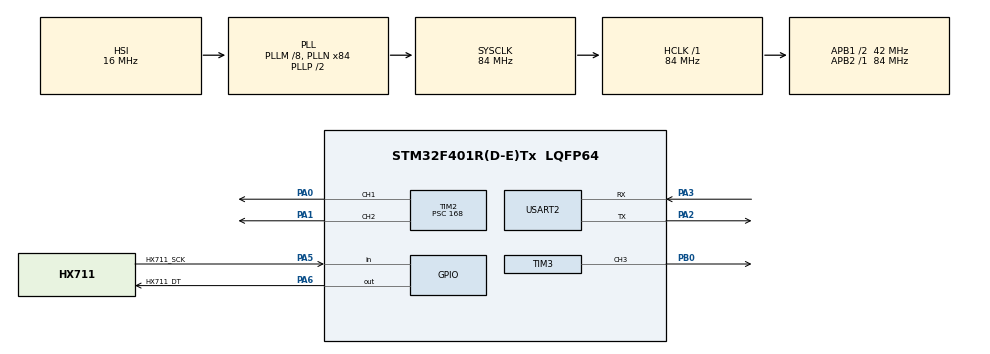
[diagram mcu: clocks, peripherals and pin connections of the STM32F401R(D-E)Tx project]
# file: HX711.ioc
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Dma.Request0=TIM3_CH3
Dma.TIM3_CH3.0.Direction=DMA_PERIPH_TO_MEMORY
Dma.TIM3_CH3.0.FIFOMode=DMA_FIFOMODE_DISABLE
Dma.TIM3_CH3.0.Instance=DMA1_Stream7
Dma.TIM3_CH3.0.MemDataAlignment=DMA_MDATAALIGN_HALFWORD
Dma.TIM3_CH3.0.MemInc=DMA_MINC_ENABLE
Dma.TIM3_CH3.0.Mode=DMA_NORMAL
Dma.TIM3_CH3.0.PeriphDataAlignment=DMA_PDATAALIGN_HALFWORD
Dma.TIM3_CH3.0.PeriphInc=DMA_PINC_DISABLE
Dma.TIM3_CH3.0.Priority=DMA_PRIORITY_LOW
Mcu.Family=STM32F4
Mcu.Name=STM32F401R(D-E)Tx
Mcu.Package=LQFP64
NVIC.DMA1_Stream7_IRQn=true\:0\:0\:false\:false\:true\:false\:true
NVIC.PriorityGroup=NVIC_PRIORITYGROUP_4
NVIC.TIM2_IRQn=true\:0\:0\:false\:false\:true\:true\:true
NVIC.TIM3_IRQn=true\:0\:0\:false\:false\:true\:true\:true
PA0-WKUP.Signal=S_TIM2_CH1_ETR
PA1.Signal=S_TIM2_CH2
PA13.Mode=Serial_Wire
PA13.Signal=SYS_JTMS-SWDIO
PA14.Mode=Serial_Wire
PA14.Signal=SYS_JTCK-SWCLK
PA2.Mode=Asynchronous
PA2.Signal=USART2_TX
PA3.Mode=Asynchronous
PA3.Signal=USART2_RX
PA5.GPIO_Label=HX711_SCK
PA5.Signal=GPIO_Input
PA6.GPIO_Label=HX711_DT
PA6.GPIO_Speed=GPIO_SPEED_FREQ_VERY_HIGH
PA6.Signal=GPIO_Output
PB0.Signal=S_TIM3_CH3
ProjectManager.HeapSize=0x200
ProjectManager.StackSize=0x400
ProjectManager.TargetToolchain=STM32CubeIDE
RCC.48MHZClocksFreq_Value=42000000
RCC.AHBFreq_Value=84000000
RCC.APB1CLKDivider=RCC_HCLK_DIV2
RCC.APB1Freq_Value=42000000
RCC.APB1TimFreq_Value=84000000
RCC.APB2Freq_Value=84000000
RCC.APB2TimFreq_Value=84000000
RCC.CortexFreq_Value=84000000
RCC.HCLKFreq_Value=84000000
RCC.HSE_VALUE=25000000
RCC.HSI_VALUE=16000000
RCC.LSE_VALUE=32768
RCC.PLLM=8
RCC.PLLN=84
RCC.SYSCLKFreq_VALUE=84000000
RCC.SYSCLKSource=RCC_SYSCLKSOURCE_PLLCLK
RCC.VCOOutputFreq_Value=168000000
SH.S_TIM2_CH1_ETR.0=TIM2_CH1,PWM Generation1 CH1
SH.S_TIM2_CH2.0=TIM2_CH2,PWM Generation2 CH2
SH.S_TIM3_CH3.0=TIM3_CH3,PWM Generation3 CH3
TIM2.Channel-PWM\ Generation1\ CH1=TIM_CHANNEL_1
TIM2.Channel-PWM\ Generation2\ CH2=TIM_CHANNEL_2
TIM2.Period=9999
TIM2.Prescaler=168
TIM2.Pulse-PWM\ Generation1\ CH1=750
TIM2.Pulse-PWM\ Generation2\ CH2=750
TIM3.Channel-PWM\ Generation3\ CH3=TIM_CHANNEL_3
TIM3.Period=1000
TIM3.Prescaler=19
TIM3.Pulse-PWM\ Generation3\ CH3=500
USART2.VirtualMode=VM_ASYNC
VP_TIM2_VS_ClockSourceINT.Mode=Internal
VP_TIM3_VS_ClockSourceINT.Mode=Internal
board=custom

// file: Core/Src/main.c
/* USER CODE BEGIN Header */
/**
 ******************************************************************************
 * @file           : main.c
 * @brief          : Main program body
 ******************************************************************************
 * @attention
 *
 * <h2><center>&copy; Copyright (c) 2021 STMicroelectronics.
 * All rights reserved.</center></h2>
 *
 * This software component is licensed by ST under BSD 3-Clause license,
 * the "License"; You may not use this file except in compliance with the
 * License. You may obtain a copy of the License at:
 *                        opensource.org/licenses/BSD-3-Clause
 *
 ******************************************************************************
 */
/* USER CODE END Header */
#include "main.h"
#include "dma.h"
#include "tim.h"
#include "usart.h"
#include "gpio.h"

/* USER CODE BEGIN Includes */
#include <stdio.h>
/* USER CODE END Includes */

/* USER CODE BEGIN PV */
volatile int wartosc = 0;

/* USER CODE END PV */

void SystemClock_Config(void);
/* USER CODE BEGIN PFP */
uint32_t HX711_valueAve(uint16_t sample);
uint32_t HX711_value();

/* USER CODE END PFP */

int main(void)
{

  /* MCU Configuration--------------------------------------------------------*/

  /* Reset of all peripherals, Initializes the Flash interface and the Systick. */
  HAL_Init();

  /* Configure the system clock */
  SystemClock_Config();

  /* Initialize all configured peripherals */
  MX_GPIO_Init();
  MX_DMA_Init();
  MX_TIM2_Init();
  MX_TIM3_Init();
  MX_USART2_UART_Init();
  /* USER CODE BEGIN 2 */
	//HX711_Init(hx11);

//  HAL_TIM_PWM_Start(&htim2, TIM_CHANNEL_2); //uruchomienie sygnału pwm na kanale 1
//    HAL_Delay(1000);
//    __HAL_TIM_SET_COMPARE(&htim2, TIM_CHANNEL_2, 50/*tu wstawiamy nową wartość pulsu*/); // 90 stopni
//    HAL_Delay(1000);
//    __HAL_TIM_SET_COMPARE(&htim2, TIM_CHANNEL_2, 1000/*tu wstawiamy nową wartość pulsu*/); // -90 stopni
//    HAL_Delay(1000);
//    __HAL_TIM_SET_COMPARE(&htim2, TIM_CHANNEL_2, 750/*tu wstawiamy nową wartość pulsu*/); // 0 stopni
//    HAL_Delay(1000);
//    HAL_TIM_PWM_Stop(&htim2, TIM_CHANNEL_2); //zatrzymanie sygnału pwm na kanale 1
//
//    HAL_TIM_Base_Start (& htim3);
//    HAL_TIM_PWM_Start (&htim3, TIM_CHANNEL_3);
//    __HAL_TIM_SET_COMPARE(&htim3, TIM_CHANNEL_3, 50/*tu wstawiamy nową wartość pulsu*/); // 90 stopni
//    HAL_Delay(1000);
//    __HAL_TIM_SET_COMPARE(&htim3, TIM_CHANNEL_3, 500/*tu wstawiamy nową wartość pulsu*/); // 90 stopni
//       HAL_Delay(1000);
//    HAL_TIM_PWM_Stop(&htim3, TIM_CHANNEL_3);

  /* USER CODE END 2 */

  /* Infinite loop */
  /* USER CODE BEGIN WHILE */
	printf("Hello, world!\r\n");
	uint32_t weight = 0;
	HAL_GPIO_WritePin(GPIOA, GPIO_PIN_5, GPIO_PIN_SET);
	HAL_Delay(10);
	HAL_GPIO_WritePin(GPIOA, GPIO_PIN_5, GPIO_PIN_RESET);
	HAL_Delay(10);
	//HX711_valueAve(8);

	while (1) {
    /* USER CODE END WHILE */

    /* USER CODE BEGIN 3 */
		weight = HX711_value();
		printf("Weight: %ld\r\n", weight);
		HAL_Delay(100);

	}

  /* USER CODE END 3 */
}

void SystemClock_Config(void)
{
  RCC_OscInitTypeDef RCC_OscInitStruct = {0};
  RCC_ClkInitTypeDef RCC_ClkInitStruct = {0};

  /** Configure the main internal regulator output voltage
  */
  __HAL_RCC_PWR_CLK_ENABLE();
  __HAL_PWR_VOLTAGESCALING_CONFIG(PWR_REGULATOR_VOLTAGE_SCALE2);
  /** Initializes the RCC Oscillators according to the specified parameters
  * in the RCC_OscInitTypeDef structure.
  */
  RCC_OscInitStruct.OscillatorType = RCC_OSCILLATORTYPE_HSI;
  RCC_OscInitStruct.HSIState = RCC_HSI_ON;
  RCC_OscInitStruct.HSICalibrationValue = RCC_HSICALIBRATION_DEFAULT;
  RCC_OscInitStruct.PLL.PLLState = RCC_PLL_ON;
  RCC_OscInitStruct.PLL.PLLSource = RCC_PLLSOURCE_HSI;
  RCC_OscInitStruct.PLL.PLLM = 8;
  RCC_OscInitStruct.PLL.PLLN = 84;
  RCC_OscInitStruct.PLL.PLLP = RCC_PLLP_DIV2;
  RCC_OscInitStruct.PLL.PLLQ = 4;
  if (HAL_RCC_OscConfig(&RCC_OscInitStruct) != HAL_OK)
  {
    Error_Handler();
  }
  /** Initializes the CPU, AHB and APB buses clocks
  */
  RCC_ClkInitStruct.ClockType = RCC_CLOCKTYPE_HCLK|RCC_CLOCKTYPE_SYSCLK
                              |RCC_CLOCKTYPE_PCLK1|RCC_CLOCKTYPE_PCLK2;
  RCC_ClkInitStruct.SYSCLKSource = RCC_SYSCLKSOURCE_PLLCLK;
  RCC_ClkInitStruct.AHBCLKDivider = RCC_SYSCLK_DIV1;
  RCC_ClkInitStruct.APB1CLKDivider = RCC_HCLK_DIV2;
  RCC_ClkInitStruct.APB2CLKDivider = RCC_HCLK_DIV1;

  if (HAL_RCC_ClockConfig(&RCC_ClkInitStruct, FLASH_LATENCY_2) != HAL_OK)
  {
    Error_Handler();
  }
}

/* USER CODE BEGIN 4 */
int _write(int file, char *ptr, int len) {
	HAL_UART_Transmit(&huart2, (uint8_t*)ptr, len, HAL_MAX_DELAY);
	return len;
}

static void HX711_delay_us(uint32_t microseconds) {
	uint8_t i;
	for (i = 0; i < 32;) {
		i++;
	}
}

uint32_t HX711_valueAve(uint16_t sample) {
	int64_t ave = 0;
	for (uint16_t i = 0; i < sample; i++)
		ave += HX711_value();
	return (int32_t) (ave / sample);
}

uint32_t HX711_value() {
	uint32_t data = 0;
	uint32_t startTime = HAL_GetTick();
	while (HAL_GPIO_ReadPin(GPIOA, GPIO_PIN_6) == GPIO_PIN_SET) {
		if (HAL_GetTick() - startTime > 150)
			return 0;
	}
	for (int8_t i = 0; i < 24; i++) {
		HAL_GPIO_WritePin(GPIOA, GPIO_PIN_5, GPIO_PIN_SET);
		HX711_delay_us(1);
		data = data << 1;
		HAL_GPIO_WritePin(GPIOA, GPIO_PIN_5, GPIO_PIN_RESET);
		HX711_delay_us(1);
		if (HAL_GPIO_ReadPin(GPIOA, GPIO_PIN_6) == GPIO_PIN_SET)
			data++;
	}
	data = data ^ 0x800000;
	HAL_GPIO_WritePin(GPIOA, GPIO_PIN_5, GPIO_PIN_SET);
	HX711_delay_us(1);
	HAL_GPIO_WritePin(GPIOA, GPIO_PIN_5, GPIO_PIN_RESET);
	HX711_delay_us(1);

	return data;
}

/* USER CODE END 4 */

void Error_Handler(void)
{
	__disable_irq();
	while (1) {
	}
}

/************************ (C) COPYRIGHT STMicroelectronics *****END OF FILE****/
